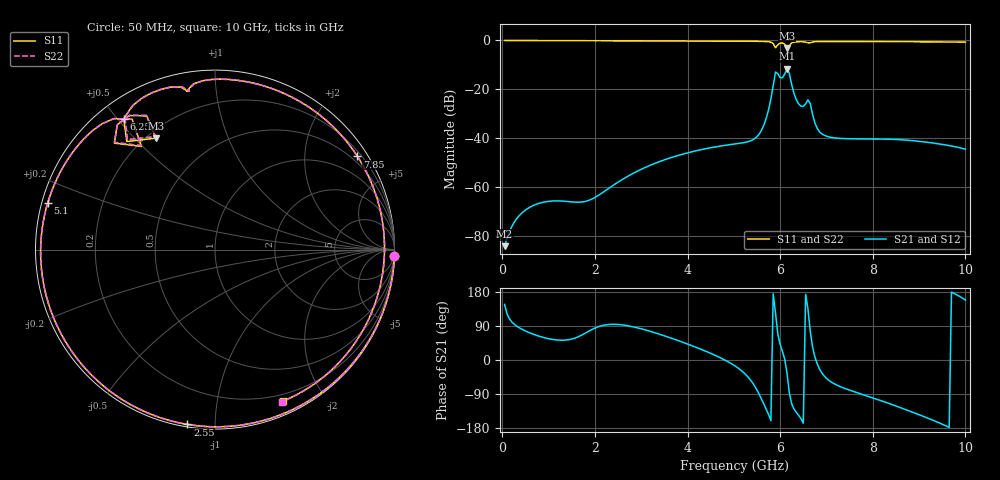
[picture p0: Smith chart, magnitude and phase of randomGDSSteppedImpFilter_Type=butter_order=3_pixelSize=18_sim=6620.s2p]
! freq	dB(S11)	phase(S11)	dB(S12)	phase(S12)
!  dB(S21)	phase(S21)	dB(S22)	phase(S22)
!S-par simulation data
#  GHz  S  DB  R 50
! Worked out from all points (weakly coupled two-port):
!   200 points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, 50 MHz to 10 GHz, reference 50 ohm
!   highest |S21| = -11.54 dB at 6.15 GHz (marker M1); lowest = -84.0 dB at 50 MHz (marker M2)
!   lowest |S11| = -3.1 dB at 6.15 GHz (marker M3), VSWR 5.71, Z = 11.8 + j28.9 ohm
!   |S11| at or under -10 dB: nowhere
!   |S22| runs from -3.0 to 0.0 dB; largest |S21 - S12| = 0
!   S11 on the Smith chart (normalised r, x): 50 MHz: 0, -56; 2.55 GHz: 0.01, -0.85; 5.1 GHz: 0.02, +0.14; 6.25 GHz: 0.07, +0.52; 7.85 GHz: 0.32, +3.33; 10 GHz: 0.13, -1.54
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0.05  -0.00 -2.0  -84.03 146.6  -84.03 146.6  -0.00 -2.0
0.7  -0.03 -28.3  -67.16 66.7  -67.16 66.7  -0.03 -28.3
1.75  -0.09 -69.1  -65.91 68.0  -65.91 68.0  -0.09 -69.1
2.55  -0.12 -99.0  -57.28 93.2  -57.28 93.2  -0.12 -99.0
3.4  -0.16 -130.0  -49.45 67.9  -49.45 67.9  -0.16 -130.0
4.25  -0.22 -161.5  -44.78 30.3  -44.78 30.3  -0.22 -161.6
5.05  -0.28 166.6  -42.20 -17.7  -42.20 -17.7  -0.28 166.5
5.1  -0.29 164.5  -42.07 -22.0  -42.07 -22.0  -0.29 164.4
5.55  -0.36 143.8  -38.16 -91.2  -38.16 -91.2  -0.36 143.7
5.75  -0.52 131.8  -28.29 -144.0  -28.29 -144.0  -0.52 131.8
5.9  -3.03 125.5  -12.90 123.9  -12.90 123.9  -2.96 125.5
6  -1.08 128.1  -15.22 40.9  -15.22 40.9  -1.06 127.9
6.15  -3.07 117.8  -11.54 -36.7  -11.54 -36.7  -2.96 117.8
6.25  -1.02 124.9  -18.14 -116.0  -18.14 -116.0  -1.00 124.3
6.4  -0.52 112.0  -25.94 -146.1  -25.94 -146.1  -0.52 111.6
6.6  -0.98 99.6  -24.28 135.1  -24.28 135.1  -0.97 99.2
6.7  -0.63 97.6  -30.22 34.3  -30.22 34.3  -0.62 97.2
6.95  -0.43 82.5  -38.71 -42.0  -38.71 -42.0  -0.43 82.1
7.85  -0.46 33.2  -40.22 -93.7  -40.22 -93.7  -0.46 32.8
8.35  -0.49 7.0  -40.32 -114.6  -40.32 -114.6  -0.48 6.5
9.2  -0.56 -33.5  -41.64 -154.0  -41.64 -154.0  -0.56 -33.9
10  -0.68 -65.9  -44.41 158.5  -44.41 158.5  -0.67 -66.2
